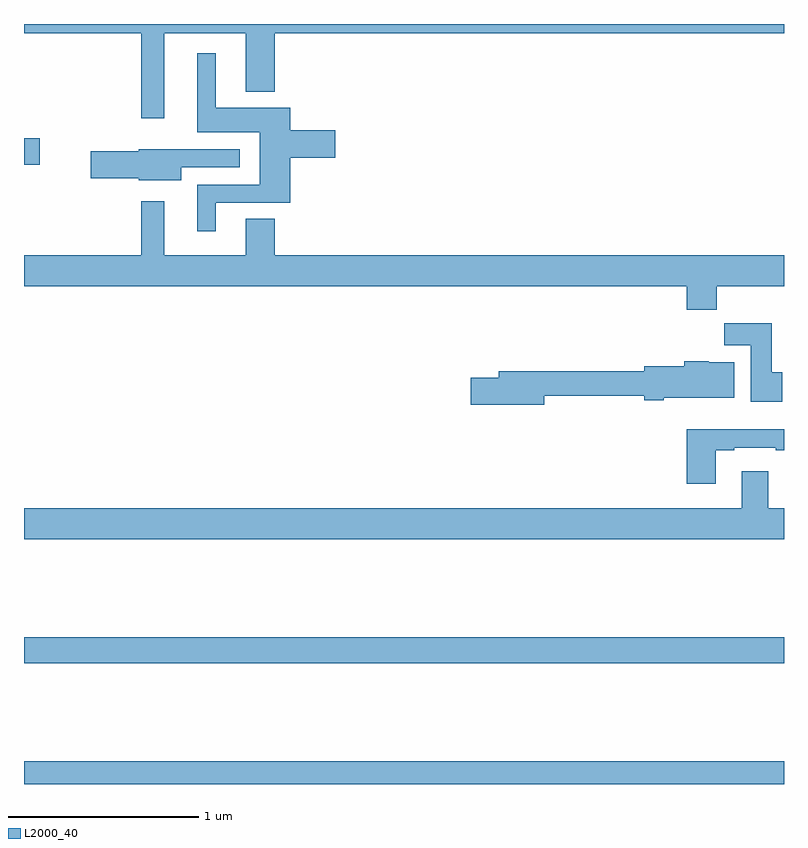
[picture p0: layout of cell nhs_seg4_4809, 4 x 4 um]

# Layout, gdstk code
import gdstk
lib = gdstk.Library(unit=1e-6, precision=1e-09)
def R(c, l, rs):  # rectangles x0, y0, x1, y1
    for r in rs: c.add(gdstk.rectangle(r[:2], r[2:], *l))
def P(c, l, *ps):  # polygons
    for p in ps: c.add(gdstk.Polygon(p, *l))
L2000_40 = (2000, 40)

nhs_seg4_4809 = lib.new_cell('nhs_seg4_4809')
R(nhs_seg4_4809, L2000_40, [(371,760.9,375,761.02), (371,761.536,375,761.672), (371,764.158,371.083,764.3)])
P(nhs_seg4_4809, L2000_40, [(371.737,764.852),(372.167,764.852),(372.167,764.543),(372.32,764.543),(372.32,764.852),(375,764.852),(375,764.9),(371,764.9),(371,764.852),(371.616,764.852),(371.616,764.403),(371.737,764.403)],
  [(372.01,763.959),(372.401,763.959),(372.401,764.195),(372.637,764.195),(372.637,764.342),(372.401,764.342),(372.401,764.458),(372.01,764.458),(372.01,764.746),(371.912,764.746),(371.912,764.33),(372.242,764.33),(372.242,764.055),(371.912,764.055),(371.912,763.809),(372.01,763.809)],
  [(371.827,764.145),(372.136,764.145),(372.136,764.241),(371.823,764.241),(371.823,764.242),(371.604,764.242),(371.604,764.231),(371.352,764.231),(371.352,764.089),(371.604,764.089),(371.604,764.078),(371.827,764.078)],
  [(374.645,763.52),(375,763.52),(375,763.684),(372.32,763.684),(372.32,763.874),(372.167,763.874),(372.167,763.684),(371.737,763.684),(371.737,763.966),(371.616,763.966),(371.616,763.684),(371,763.684),(371,763.52),(374.489,763.52),(374.489,763.396),(374.645,763.396)],
  [(374.992,763.068),(374.935,763.068),(374.935,763.326),(374.686,763.326),(374.686,763.208),(374.825,763.208),(374.825,762.912),(374.992,762.912)],
  [(373.738,762.943),(374.264,762.943),(374.264,762.92),(374.368,762.92),(374.368,762.932),(374.737,762.932),(374.737,763.12),(374.604,763.12),(374.604,763.126),(374.474,763.126),(374.474,763.098),(374.264,763.098),(374.264,763.072),(373.499,763.072),(373.499,763.038),(373.35,763.038),(373.35,762.896),(373.738,762.896)],
  [(374.641,762.657),(374.737,762.657),(374.737,762.669),(374.957,762.669),(374.957,762.657),(375,762.657),(375,762.766),(374.489,762.766),(374.489,762.48),(374.641,762.48)],
  [(375,762.352),(374.917,762.352),(374.917,762.547),(374.777,762.547),(374.777,762.352),(371,762.352),(371,762.188),(375,762.188)])

lib.write_gds('nhs_seg4_4809.gds')
